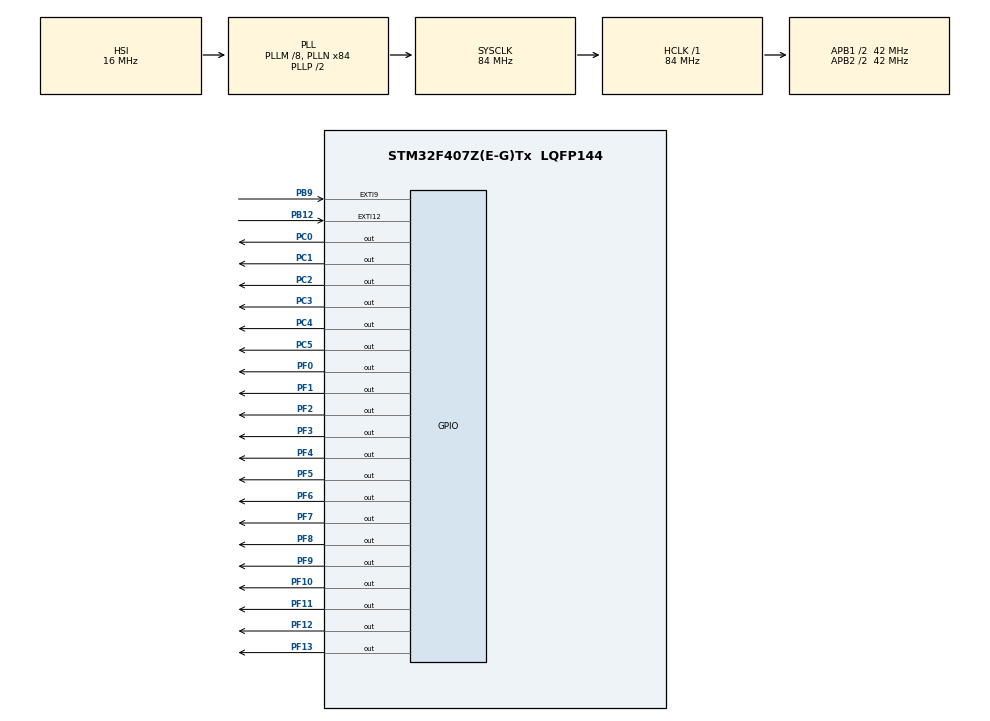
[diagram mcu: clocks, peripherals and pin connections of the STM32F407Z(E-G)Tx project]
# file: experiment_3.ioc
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Mcu.Family=STM32F4
Mcu.Name=STM32F407Z(E-G)Tx
Mcu.Package=LQFP144
NVIC.EXTI15_10_IRQn=true\:0\:0\:false\:false\:true\:true\:true\:true
NVIC.EXTI9_5_IRQn=true\:0\:0\:false\:false\:true\:true\:true\:true
NVIC.PriorityGroup=NVIC_PRIORITYGROUP_4
PB12.Signal=GPXTI12
PB9.Signal=GPXTI9
PC0.Signal=GPIO_Output
PC1.Signal=GPIO_Output
PC14-OSC32_IN.Mode=LSE-External-Oscillator
PC14-OSC32_IN.Signal=RCC_OSC32_IN
PC15-OSC32_OUT.Mode=LSE-External-Oscillator
PC15-OSC32_OUT.Signal=RCC_OSC32_OUT
PC2.Signal=GPIO_Output
PC3.Signal=GPIO_Output
PC4.Signal=GPIO_Output
PC5.Signal=GPIO_Output
PF0.Signal=GPIO_Output
PF1.Signal=GPIO_Output
PF10.Signal=GPIO_Output
PF11.Signal=GPIO_Output
PF12.Signal=GPIO_Output
PF13.Signal=GPIO_Output
PF2.Signal=GPIO_Output
PF3.Signal=GPIO_Output
PF4.Signal=GPIO_Output
PF5.Signal=GPIO_Output
PF6.Signal=GPIO_Output
PF7.Signal=GPIO_Output
PF8.Signal=GPIO_Output
PF9.Signal=GPIO_Output
PH0-OSC_IN.Mode=HSE-External-Oscillator
PH0-OSC_IN.Signal=RCC_OSC_IN
PH1-OSC_OUT.Mode=HSE-External-Oscillator
PH1-OSC_OUT.Signal=RCC_OSC_OUT
ProjectManager.HeapSize=0x200
ProjectManager.StackSize=0x400
ProjectManager.TargetToolchain=Makefile
RCC.48MHZClocksFreq_Value=42000000
RCC.AHBFreq_Value=84000000
RCC.APB1CLKDivider=RCC_HCLK_DIV2
RCC.APB1Freq_Value=42000000
RCC.APB1TimFreq_Value=84000000
RCC.APB2CLKDivider=RCC_HCLK_DIV2
RCC.APB2Freq_Value=42000000
RCC.APB2TimFreq_Value=84000000
RCC.CortexFreq_Value=84000000
RCC.HCLKFreq_Value=84000000
RCC.HSE_VALUE=25000000
RCC.HSI_VALUE=16000000
RCC.PLLM=8
RCC.PLLN=84
RCC.SYSCLKFreq_VALUE=84000000
RCC.SYSCLKSource=RCC_SYSCLKSOURCE_PLLCLK
RCC.VCOOutputFreq_Value=168000000
VP_TIM3_VS_ClockSourceINT.Mode=Internal
board=custom

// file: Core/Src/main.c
/* USER CODE BEGIN Header */
/**
  ******************************************************************************
  * @file           : main.c
  * @brief          : Main program body
  ******************************************************************************
  * @attention
  *
  * Copyright (c) 2025 STMicroelectronics.
  * All rights reserved.
  *
  * This software is licensed under terms that can be found in the LICENSE file
  * in the root directory of this software component.
  * If no LICENSE file comes with this software, it is provided AS-IS.
  *
  ******************************************************************************
  */
/* USER CODE END Header */
#include "main.h"
#include "tim.h"
#include "gpio.h"

/* USER CODE BEGIN PD */
// Pin definitions for 74HC595
#define SI_PIN GPIO_PIN_0
#define RCK_PIN GPIO_PIN_1
#define SCK_PIN GPIO_PIN_2
#define SI_PORT GPIOC
#define RCK_PORT GPIOC
#define SCK_PORT GPIOC

// Pin definitions for 74HC138
#define A_PIN GPIO_PIN_3
#define B_PIN GPIO_PIN_4
#define C_PIN GPIO_PIN_5
#define ABC_PORT GPIOC

// LED pins (PF0-PF7)
#define LED_PORT GPIOF
#define LED1_PIN GPIO_PIN_0
#define LED2_PIN GPIO_PIN_1
#define LED3_PIN GPIO_PIN_2
#define LED4_PIN GPIO_PIN_3
#define LED5_PIN GPIO_PIN_4
#define LED6_PIN GPIO_PIN_5
#define LED7_PIN GPIO_PIN_6
#define LED8_PIN GPIO_PIN_7

// Traffic light pins
#define R1_PIN GPIO_PIN_8
#define Y1_PIN GPIO_PIN_9
#define G1_PIN GPIO_PIN_10
#define R2_PIN GPIO_PIN_11
#define Y2_PIN GPIO_PIN_12
#define G2_PIN GPIO_PIN_13
#define TRAFFIC_PORT GPIOF
/* USER CODE END PD */

/* USER CODE BEGIN PV */
// 7-segment display codes (common cathode)
const uint8_t digit_codes[10] = {
    0x3F, // 0
    0x06, // 1
    0x5B, // 2
    0x4F, // 3
    0x66, // 4
    0x6D, // 5
    0x7D, // 6
    0x07, // 7
    0x7F, // 8
    0x6F  // 9
};

volatile uint8_t current_digit = 0;
volatile uint32_t last_update_time = 0;

// Interrupt flags
volatile uint8_t pb12_interrupt_active = 0;
volatile uint8_t pb9_interrupt_active = 0;
volatile uint32_t interrupt_start_time = 0;

// Variables for saving PB12 state when preempted
volatile uint8_t pb12_was_preempted = 0;
volatile uint32_t pb12_elapsed_before_preempt = 0;
/* USER CODE END PV */

void SystemClock_Config(void);
/* USER CODE BEGIN PFP */
void HC595_SendByte(uint8_t data);
void HC138_SelectDigit(uint8_t digit);
void Display_Digit(uint8_t digit);
void Traffic_Light_Task(void);
void LED_Sequential_Task(void);
/* USER CODE END PFP */

/* USER CODE BEGIN 0 */
// Send 8-bit data to 74HC595
void HC595_SendByte(uint8_t data) {
    // Pull RCK low to prepare for data transfer
    HAL_GPIO_WritePin(RCK_PORT, RCK_PIN, GPIO_PIN_RESET);

    // Send 8 bits, MSB first
    for (int i = 7; i >= 0; i--) {
        // Pull SCK low
        HAL_GPIO_WritePin(SCK_PORT, SCK_PIN, GPIO_PIN_RESET);

        // Set SI to current bit value
        if (data & (1 << i)) {
            HAL_GPIO_WritePin(SI_PORT, SI_PIN, GPIO_PIN_SET);
        } else {
            HAL_GPIO_WritePin(SI_PORT, SI_PIN, GPIO_PIN_RESET);
        }

        // Pull SCK high to latch the bit
        HAL_GPIO_WritePin(SCK_PORT, SCK_PIN, GPIO_PIN_SET);
    }

    // Pull RCK high to transfer data to output
    HAL_GPIO_WritePin(RCK_PORT, RCK_PIN, GPIO_PIN_SET);
}

// Select digit position using 74HC138
void HC138_SelectDigit(uint8_t digit) {
    // Set ABC pins according to digit (0-7)
    HAL_GPIO_WritePin(ABC_PORT, A_PIN, (digit & 0x01) ? GPIO_PIN_SET : GPIO_PIN_RESET);
    HAL_GPIO_WritePin(ABC_PORT, B_PIN, (digit & 0x02) ? GPIO_PIN_SET : GPIO_PIN_RESET);
    HAL_GPIO_WritePin(ABC_PORT, C_PIN, (digit & 0x04) ? GPIO_PIN_SET : GPIO_PIN_RESET);
}

// Display a digit on the 7-segment display
void Display_Digit(uint8_t digit) {
    if (digit > 9) digit = 0;
    HC138_SelectDigit(0); // Select first digit position
    HC595_SendByte(digit_codes[digit]);
}

// Traffic light blinking task (for PB12 interrupt)
void Traffic_Light_Task(void) {
    uint32_t elapsed = HAL_GetTick() - interrupt_start_time;

    if (elapsed >= 3000) {
        // Turn off all traffic lights
        HAL_GPIO_WritePin(TRAFFIC_PORT, R1_PIN | Y1_PIN | G1_PIN | R2_PIN | Y2_PIN | G2_PIN, GPIO_PIN_RESET);
        pb12_interrupt_active = 0;
        return;
    }

    // Blink every 250ms
    uint32_t phase = (elapsed / 250) % 2;

    if (phase == 0) {
        // Light up group 1
        HAL_GPIO_WritePin(TRAFFIC_PORT, R1_PIN | Y1_PIN | G1_PIN, GPIO_PIN_SET);
        HAL_GPIO_WritePin(TRAFFIC_PORT, R2_PIN | Y2_PIN | G2_PIN, GPIO_PIN_RESET);
    } else {
        // Light up group 2
        HAL_GPIO_WritePin(TRAFFIC_PORT, R1_PIN | Y1_PIN | G1_PIN, GPIO_PIN_RESET);
        HAL_GPIO_WritePin(TRAFFIC_PORT, R2_PIN | Y2_PIN | G2_PIN, GPIO_PIN_SET);
    }
}

// LED sequential lighting task (for PB9 interrupt)
void LED_Sequential_Task(void) {
    uint32_t elapsed = HAL_GetTick() - interrupt_start_time;

    if (elapsed >= 1800) {
        // After 1.8 seconds (800ms for lighting + 1000ms hold), turn off all LEDs and finish
        HAL_GPIO_WritePin(LED_PORT, 0xFF, GPIO_PIN_RESET);
        pb9_interrupt_active = 0;

        // If PB12 was preempted, restore it
        if (pb12_was_preempted) {
            pb12_interrupt_active = 1;
            pb12_was_preempted = 0;
            // Adjust interrupt_start_time to account for elapsed time before preemption
            interrupt_start_time = HAL_GetTick() - pb12_elapsed_before_preempt;
        }
        return;
    }

    uint8_t led_count = elapsed / 100;

    if (led_count >= 8) {
        // All LEDs on, keep them on until total time reaches 1800ms
        HAL_GPIO_WritePin(LED_PORT, LED1_PIN | LED2_PIN | LED3_PIN | LED4_PIN |
                         LED5_PIN | LED6_PIN | LED7_PIN | LED8_PIN, GPIO_PIN_SET);
        return;
    }

    // Light up LEDs sequentially
    uint16_t led_mask = 0;
    for (uint8_t i = 0; i <= led_count; i++) {
        led_mask |= (1 << i);
    }

    HAL_GPIO_WritePin(LED_PORT, 0xFF, GPIO_PIN_RESET); // Turn off all LEDs
    HAL_GPIO_WritePin(LED_PORT, led_mask, GPIO_PIN_SET); // Turn on required LEDs
}
/* USER CODE END 0 */

int main(void)
{

  /* MCU Configuration--------------------------------------------------------*/

  /* Reset of all peripherals, Initializes the Flash interface and the Systick. */
  HAL_Init();

  /* Configure the system clock */
  SystemClock_Config();

  /* Initialize all configured peripherals */
  MX_GPIO_Init();
  MX_TIM3_Init();
  /* USER CODE BEGIN 2 */
  HAL_TIM_Base_Start(&htim3);
  last_update_time = HAL_GetTick();
  /* USER CODE END 2 */

  /* Infinite loop */
  while (1)
  {

    /* USER CODE BEGIN 3 */
    // Handle PB9 interrupt (highest priority)
    if (pb9_interrupt_active) {
        LED_Sequential_Task();
        last_update_time = HAL_GetTick(); // Pause digit counter during interrupt
        continue; // Skip other tasks while LED task is active
    }

    // Handle PB12 interrupt
    if (pb12_interrupt_active) {
        Traffic_Light_Task();
        last_update_time = HAL_GetTick(); // Pause digit counter during interrupt
        continue; // Skip digit display while traffic light is active
    }

    // Normal operation: display digit counting 0-9
    uint32_t current_time = HAL_GetTick();
    if (current_time - last_update_time >= 1000) {
        current_digit++;
        if (current_digit > 9) {
            current_digit = 0;
        }
        last_update_time = current_time;
    }

    Display_Digit(current_digit);
  }
  /* USER CODE END 3 */
}

void SystemClock_Config(void)
{
  RCC_OscInitTypeDef RCC_OscInitStruct = {0};
  RCC_ClkInitTypeDef RCC_ClkInitStruct = {0};

  /** Configure the main internal regulator output voltage
  */
  __HAL_RCC_PWR_CLK_ENABLE();
  __HAL_PWR_VOLTAGESCALING_CONFIG(PWR_REGULATOR_VOLTAGE_SCALE1);

  /** Initializes the RCC Oscillators according to the specified parameters
  * in the RCC_OscInitTypeDef structure.
  */
  RCC_OscInitStruct.OscillatorType = RCC_OSCILLATORTYPE_HSI;
  RCC_OscInitStruct.HSIState = RCC_HSI_ON;
  RCC_OscInitStruct.HSICalibrationValue = RCC_HSICALIBRATION_DEFAULT;
  RCC_OscInitStruct.PLL.PLLState = RCC_PLL_ON;
  RCC_OscInitStruct.PLL.PLLSource = RCC_PLLSOURCE_HSI;
  RCC_OscInitStruct.PLL.PLLM = 8;
  RCC_OscInitStruct.PLL.PLLN = 84;
  RCC_OscInitStruct.PLL.PLLP = RCC_PLLP_DIV2;
  RCC_OscInitStruct.PLL.PLLQ = 4;
  if (HAL_RCC_OscConfig(&RCC_OscInitStruct) != HAL_OK)
  {
    Error_Handler();
  }

  /** Initializes the CPU, AHB and APB buses clocks
  */
  RCC_ClkInitStruct.ClockType = RCC_CLOCKTYPE_HCLK|RCC_CLOCKTYPE_SYSCLK
                              |RCC_CLOCKTYPE_PCLK1|RCC_CLOCKTYPE_PCLK2;
  RCC_ClkInitStruct.SYSCLKSource = RCC_SYSCLKSOURCE_PLLCLK;
  RCC_ClkInitStruct.AHBCLKDivider = RCC_SYSCLK_DIV1;
  RCC_ClkInitStruct.APB1CLKDivider = RCC_HCLK_DIV2;
  RCC_ClkInitStruct.APB2CLKDivider = RCC_HCLK_DIV2;

  if (HAL_RCC_ClockConfig(&RCC_ClkInitStruct, FLASH_LATENCY_2) != HAL_OK)
  {
    Error_Handler();
  }
}

/* USER CODE BEGIN 4 */
// GPIO EXTI Callback
void HAL_GPIO_EXTI_Callback(uint16_t GPIO_Pin) {
    if (GPIO_Pin == GPIO_PIN_12) {
        // PB12 pressed - start traffic light blinking
        if (!pb9_interrupt_active && !pb12_was_preempted) { // Only if not preempted by PB9
            pb12_interrupt_active = 1;
            interrupt_start_time = HAL_GetTick();
            // Turn off all LEDs
            HAL_GPIO_WritePin(LED_PORT, 0xFF, GPIO_PIN_RESET);
        }
    } else if (GPIO_Pin == GPIO_PIN_9) {
        // PB9 pressed - preempt traffic light, start LED sequence
        pb9_interrupt_active = 1;

        // Save PB12 state if it was active
        if (pb12_interrupt_active) {
            pb12_was_preempted = 1;
            pb12_elapsed_before_preempt = HAL_GetTick() - interrupt_start_time;
            pb12_interrupt_active = 0; // Temporarily stop PB12
        }

        interrupt_start_time = HAL_GetTick();
        // Turn off all traffic lights
        HAL_GPIO_WritePin(TRAFFIC_PORT, R1_PIN | Y1_PIN | G1_PIN | R2_PIN | Y2_PIN | G2_PIN, GPIO_PIN_RESET);
        // Turn off all LEDs initially
        HAL_GPIO_WritePin(LED_PORT, 0xFF, GPIO_PIN_RESET);
    }
}
/* USER CODE END 4 */

void Error_Handler(void)
{
  __disable_irq();
  while (1)
  {
  }
}
